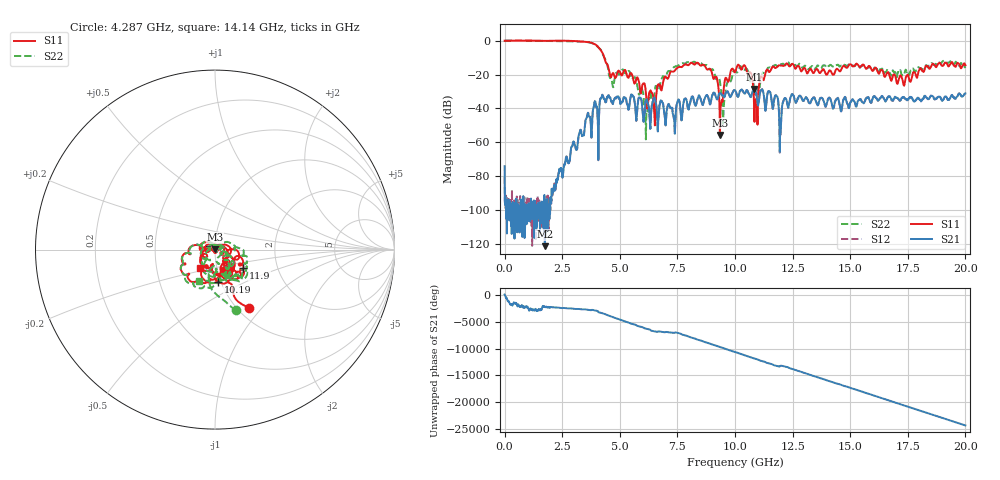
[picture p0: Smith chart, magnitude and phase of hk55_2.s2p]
#  HZ  S  RI  R  50.00
! Rohde & Schwarz Vector Network Analyzer
! Rohde-Schwarz,ZNB20-2Port,1311601062102128,3.60
! Created: UTC 4/29/2024, 3:44:30 PM
! freq[Hz]  re:S11  im:S11  re:S21  im:S21  re:S12  im:S12  re:S22  im:S22
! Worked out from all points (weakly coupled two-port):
!   2007 points, 100 kHz to 20 GHz, reference 50 ohm
!   highest |S21| = -28.53 dB at 10.83 GHz (marker M1); lowest = -121.2 dB at 1.745 GHz (marker M2)
!   lowest |S11| = -55.6 dB at 9.342 GHz (marker M3), VSWR 1.00, Z = 50.1 + j0.148 ohm
!   |S11| at or under -10 dB: 4.327 GHz to end of sweep
!   |S22| runs from -58.2 to 0.1 dB; largest |S21 - S12| = 0.0018
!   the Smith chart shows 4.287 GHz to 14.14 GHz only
!   S11 on the Smith chart (normalised r, x): 4.287 GHz: 1.13, -0.86; 10.19 GHz: 0.97, -0.36; 11.9 GHz: 1.34, -0.28; 14.14 GHz: 0.83, -0.17
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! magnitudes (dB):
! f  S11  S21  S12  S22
! 100 kHz  0.0  -74.0  -80.2  0.1
! 1.745 GHz  -0.1  -121.2  -97.1  -0.2
! 2.493 GHz  0.0  -77.8  -78.3  -0.3
! 3.34 GHz  -0.6  -55.3  -55.0  -0.6
! 4.287 GHz  -8.5  -33.4  -33.5  -8.9
! 4.656 GHz  -20.1  -35.6  -35.6  -23.6
! 5.653 GHz  -25.1  -37.1  -37.0  -21.6
! 6.132 GHz  -30.6  -35.4  -35.4  -58.2
! 6.67 GHz  -25.8  -46.7  -46.8  -28.0
! 8.375 GHz  -13.1  -34.3  -34.2  -13.5
! 9.173 GHz  -21.3  -33.3  -33.3  -22.5
! 9.342 GHz  -55.6  -30.8  -30.8  -23.6
! 9.502 GHz  -29.0  -33.0  -33.0  -42.3
! 10 GHz  -18.6  -29.3  -29.3  -17.5
! 10.19 GHz  -14.9  -30.7  -30.7  -16.2
! 10.83 GHz  -38.4  -28.5  -28.5  -28.3
! 11.79 GHz  -15.9  -32.4  -32.4  -14.7
! 11.9 GHz  -14.6  -40.8  -40.9  -14.4
! 13.34 GHz  -17.9  -34.6  -34.6  -14.9
! 14.14 GHz  -17.6  -34.2  -34.2  -14.3
! 16.67 GHz  -19.1  -32.9  -32.9  -18.9
! 20 GHz  -14.5  -31.1  -31.2  -15.2
